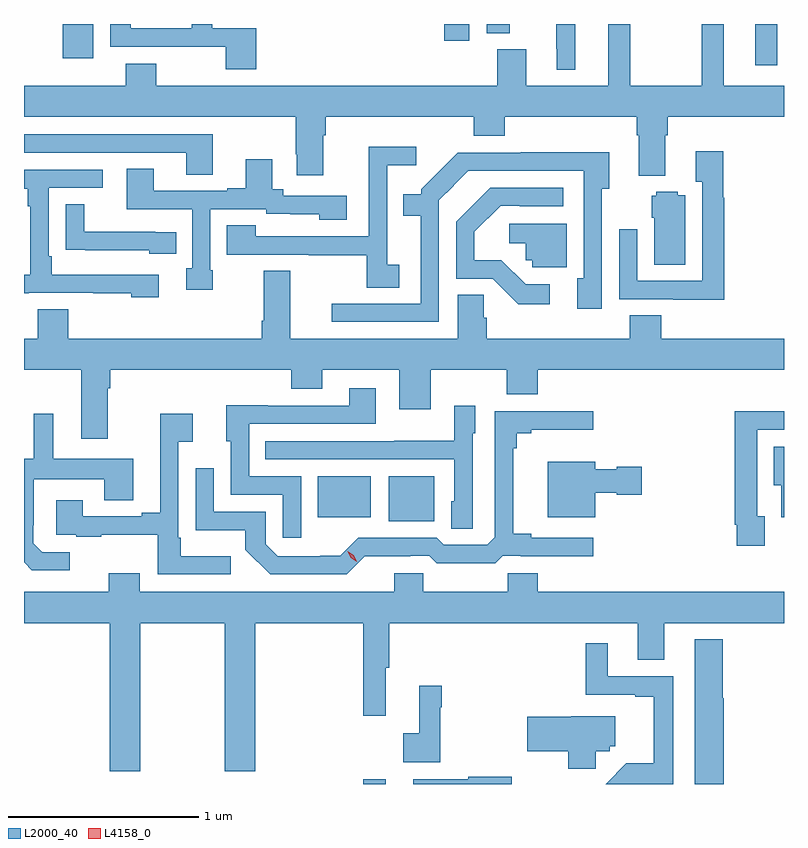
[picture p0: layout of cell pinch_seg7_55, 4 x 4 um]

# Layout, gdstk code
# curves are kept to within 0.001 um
import gdstk
lib = gdstk.Library(unit=1e-6, precision=1e-09)
def R(c, l, rs):  # rectangles x0, y0, x1, y1
    for r in rs: c.add(gdstk.rectangle(r[:2], r[2:], *l))
def P(c, l, *ps):  # polygons
    for p in ps: c.add(gdstk.Polygon(p, *l))
L2000_40 = (2000, 40)
L4158_0 = (4158, 0)

pinch_seg7_55 = lib.new_cell('pinch_seg7_55')
R(pinch_seg7_55, L2000_40, [(893.983,1049.053,894.1,1049.077), (894.116,1050.437,894.355,1050.673), (893.744,1050.458,894.022,1050.673), (896.045,1052.835,896.161,1053.053), (892.4,1052.874,892.561,1053.053), (894.41,1052.964,894.541,1053.053), (894.632,1053.005,894.754,1053.053)])
P(pinch_seg7_55, L2000_40, [(895.099,1053.053),(894.997,1053.053),(894.997,1052.923),(895.001,1052.923),(895.001,1052.813),(895.099,1052.813)],
  [(895.573,1052.468),(895.586,1052.468),(895.586,1052.564),(896.197,1052.564),(896.197,1052.728),(895.879,1052.728),(895.879,1053.053),(895.765,1053.053),(895.765,1052.728),(895.389,1052.728),(895.389,1053.053),(895.271,1053.053),(895.271,1052.728),(894.841,1052.728),(894.841,1052.92),(894.689,1052.92),(894.689,1052.728),(892.893,1052.728),(892.893,1052.845),(892.733,1052.845),(892.733,1052.728),(892.197,1052.728),(892.197,1052.564),(893.626,1052.564),(893.626,1052.368),(893.633,1052.368),(893.633,1052.256),(893.773,1052.256),(893.773,1052.468),(893.786,1052.468),(893.786,1052.564),(894.563,1052.564),(894.563,1052.465),(894.728,1052.465),(894.728,1052.564),(895.421,1052.564),(895.421,1052.468),(895.433,1052.468),(895.433,1052.255),(895.573,1052.255)],
  [(893.42,1053.03),(893.187,1053.03),(893.187,1053.053),(893.079,1053.053),(893.079,1053.031),(892.759,1053.031),(892.759,1053.053),(892.65,1053.053),(892.65,1052.934),(892.994,1052.934),(892.994,1052.933),(893.26,1052.933),(893.26,1052.814),(893.42,1052.814)],
  [(893.191,1052.472),(892.197,1052.472),(892.197,1052.376),(893.051,1052.376),(893.051,1052.26),(893.191,1052.26)],
  [(894.172,1051.785),(894.108,1051.785),(894.108,1052.309),(894.262,1052.309),(894.262,1052.407),(894.012,1052.407),(894.012,1051.935),(893.417,1051.935),(893.417,1051.994),(893.263,1051.994),(893.263,1051.839),(893.695,1051.839),(893.695,1051.837),(894,1051.837),(894,1051.666),(894.172,1051.666)],
  [(895.883,1052.138),(895.876,1052.138),(895.876,1052.383),(895.733,1052.383),(895.733,1052.222),(895.767,1052.222),(895.767,1051.701),(895.425,1051.701),(895.425,1051.972),(895.329,1051.972),(895.329,1051.605),(895.613,1051.605),(895.613,1051.601),(895.883,1051.601)],
  [(894.381,1052.126),(894.534,1052.28),(895.143,1052.28),(895.143,1051.714),(895.109,1051.714),(895.109,1051.554),(895.239,1051.554),(895.239,1052.186),(895.276,1052.186),(895.276,1052.378),(894.811,1052.378),(894.811,1052.376),(894.48,1052.376),(894.288,1052.184),(894.288,1052.158),(894.193,1052.158),(894.193,1052.044),(894.284,1052.044),(894.284,1051.581),(893.817,1051.581),(893.817,1051.485),(894.381,1051.485)],
  [(893.191,1051.758),(893.178,1051.758),(893.178,1052.079),(893.472,1052.079),(893.472,1052.054),(893.599,1052.054),(893.599,1052.052),(893.751,1052.052),(893.751,1052.024),(893.896,1052.024),(893.896,1052.148),(893.562,1052.148),(893.562,1052.183),(893.503,1052.183),(893.503,1052.341),(893.363,1052.341),(893.363,1052.188),(893.267,1052.188),(893.267,1052.175),(892.879,1052.175),(892.879,1052.291),(892.739,1052.291),(892.739,1052.079),(893.082,1052.079),(893.082,1051.768),(893.051,1051.768),(893.051,1051.654),(893.191,1051.654)],
  [(892.906,1051.734),(892.343,1051.734),(892.343,1051.831),(892.326,1051.831),(892.326,1052.19),(892.612,1052.19),(892.612,1052.286),(892.197,1052.286),(892.197,1052.186),(892.218,1052.186),(892.218,1052.093),(892.23,1052.093),(892.23,1051.735),(892.229,1051.735),(892.229,1051.734),(892.197,1051.734),(892.197,1051.636),(892.223,1051.636),(892.223,1051.638),(892.561,1051.638),(892.561,1051.636),(892.761,1051.636),(892.761,1051.616),(892.906,1051.616)],
  [(894.964,1051.683),(894.837,1051.683),(894.71,1051.81),(894.568,1051.81),(894.568,1051.96),(894.705,1052.097),(894.805,1052.097),(894.805,1052.094),(895.036,1052.094),(895.036,1052.19),(894.65,1052.19),(894.471,1052.011),(894.471,1051.713),(894.663,1051.713),(894.799,1051.578),(894.964,1051.578)],
  [(895.678,1052.152),(895.638,1052.152),(895.638,1052.17),(895.524,1052.17),(895.524,1052.148),(895.502,1052.148),(895.502,1052.034),(895.514,1052.034),(895.514,1051.786),(895.678,1051.786)],
  [(892.997,1051.957),(892.889,1051.957),(892.889,1051.959),(892.515,1051.959),(892.515,1052.105),(892.417,1052.105),(892.417,1051.864),(892.519,1051.864),(892.519,1051.863),(892.857,1051.863),(892.857,1051.844),(892.997,1051.844)],
  [(895.054,1052.001),(894.75,1052.001),(894.75,1051.898),(894.837,1051.898),(894.837,1051.809),(894.873,1051.809),(894.873,1051.773),(895.054,1051.773)],
  [(892.639,1051.136),(892.652,1051.136),(892.652,1051.232),(893.603,1051.232),(893.603,1051.133),(893.767,1051.133),(893.767,1051.232),(894.173,1051.232),(894.173,1051.026),(894.337,1051.026),(894.337,1051.232),(894.737,1051.232),(894.737,1051.104),(894.901,1051.104),(894.901,1051.232),(896.197,1051.232),(896.197,1051.396),(895.55,1051.396),(895.55,1051.52),(895.385,1051.52),(895.385,1051.396),(894.632,1051.396),(894.632,1051.506),(894.618,1051.506),(894.618,1051.628),(894.479,1051.628),(894.479,1051.396),(893.599,1051.396),(893.599,1051.754),(893.459,1051.754),(893.459,1051.492),(893.447,1051.492),(893.447,1051.396),(892.43,1051.396),(892.43,1051.553),(892.27,1051.553),(892.27,1051.396),(892.197,1051.396),(892.197,1051.232),(892.499,1051.232),(892.499,1050.87),(892.639,1050.87)],
  [(893.655,1050.672),(893.382,1050.672),(893.382,1050.948),(894.049,1050.948),(894.049,1051.135),(893.909,1051.135),(893.909,1051.044),(893.479,1051.044),(893.479,1051.046),(893.261,1051.046),(893.261,1050.858),(893.286,1050.858),(893.286,1050.576),(893.559,1050.576),(893.559,1050.348),(893.655,1050.348)],
  [(894.558,1050.9),(894.571,1050.9),(894.571,1051.045),(894.462,1051.045),(894.462,1050.859),(894.145,1050.859),(894.145,1050.858),(893.467,1050.858),(893.467,1050.762),(894.462,1050.762),(894.462,1050.54),(894.446,1050.54),(894.446,1050.397),(894.558,1050.397)],
  [(896.095,1050.462),(896.055,1050.462),(896.055,1050.918),(896.197,1050.918),(896.197,1051.016),(895.939,1051.016),(895.939,1050.418),(895.947,1050.418),(895.947,1050.306),(896.095,1050.306)],
  [(893.99,1050.251),(894.23,1050.251),(894.23,1050.255),(894.33,1050.255),(894.37,1050.216),(894.677,1050.216),(894.717,1050.255),(894.811,1050.255),(894.811,1050.251),(895.192,1050.251),(895.192,1050.348),(894.868,1050.348),(894.868,1050.371),(894.773,1050.371),(894.773,1050.821),(894.791,1050.821),(894.791,1050.898),(894.868,1050.898),(894.868,1050.917),(895.192,1050.917),(895.192,1051.014),(894.675,1051.014),(894.675,1050.351),(894.636,1050.312),(894.405,1050.312),(894.369,1050.348),(893.955,1050.348),(893.861,1050.254),(893.756,1050.254),(893.756,1050.252),(893.532,1050.252),(893.469,1050.315),(893.469,1050.486),(893.196,1050.486),(893.196,1050.715),(893.1,1050.715),(893.1,1050.389),(893.362,1050.389),(893.362,1050.287),(893.492,1050.156),(893.895,1050.156)],
  [(893.284,1050.253),(893.023,1050.253),(893.023,1050.349),(893.01,1050.349),(893.01,1050.854),(893.086,1050.854),(893.086,1051.003),(892.913,1051.003),(892.913,1050.481),(892.817,1050.481),(892.817,1050.462),(892.507,1050.462),(892.507,1050.547),(892.367,1050.547),(892.367,1050.366),(892.471,1050.366),(892.471,1050.354),(892.603,1050.354),(892.603,1050.365),(892.902,1050.365),(892.902,1050.156),(893.284,1050.156)],
  [(892.438,1050.273),(892.293,1050.273),(892.246,1050.32),(892.246,1050.415),(892.248,1050.415),(892.248,1050.656),(892.619,1050.656),(892.619,1050.547),(892.771,1050.547),(892.771,1050.766),(892.351,1050.766),(892.351,1051.003),(892.247,1051.003),(892.247,1050.764),(892.197,1050.764),(892.197,1050.219),(892.237,1050.179),(892.438,1050.179)],
  [(896.197,1050.829),(896.144,1050.829),(896.144,1050.626),(896.183,1050.626),(896.183,1050.458),(896.197,1050.458)],
  [(895.204,1050.587),(895.317,1050.587),(895.317,1050.575),(895.447,1050.575),(895.447,1050.722),(895.317,1050.722),(895.317,1050.709),(895.204,1050.709),(895.204,1050.748),(894.953,1050.748),(894.953,1050.458),(895.204,1050.458)],
  [(892.809,1049.9),(893.254,1049.9),(893.254,1049.121),(893.414,1049.121),(893.414,1049.9),(893.983,1049.9),(893.983,1049.412),(894.101,1049.412),(894.101,1049.664),(894.119,1049.664),(894.119,1049.9),(895.427,1049.9),(895.427,1049.706),(895.567,1049.706),(895.567,1049.9),(896.197,1049.9),(896.197,1050.064),(894.902,1050.064),(894.902,1050.162),(894.742,1050.162),(894.742,1050.064),(894.297,1050.064),(894.297,1050.162),(894.146,1050.162),(894.146,1050.064),(892.807,1050.064),(892.807,1050.163),(892.643,1050.163),(892.643,1050.064),(892.197,1050.064),(892.197,1049.9),(892.649,1049.9),(892.649,1049.121),(892.809,1049.121)],
  [(895.88,1049.505),(895.875,1049.505),(895.875,1049.815),(895.727,1049.815),(895.727,1049.053),(895.88,1049.053)],
  [(895.615,1049.619),(895.27,1049.619),(895.27,1049.794),(895.153,1049.794),(895.153,1049.523),(895.415,1049.523),(895.415,1049.511),(895.511,1049.511),(895.511,1049.162),(895.367,1049.162),(895.258,1049.053),(895.615,1049.053)],
  [(894.388,1049.456),(894.395,1049.456),(894.395,1049.569),(894.278,1049.569),(894.278,1049.321),(894.192,1049.321),(894.192,1049.168),(894.388,1049.168)],
  [(895.206,1049.226),(895.281,1049.226),(895.281,1049.253),(895.309,1049.253),(895.309,1049.41),(895.077,1049.41),(895.077,1049.408),(894.846,1049.408),(894.846,1049.225),(895.061,1049.225),(895.061,1049.132),(895.206,1049.132)],
  [(894.763,1049.09),(894.534,1049.09),(894.534,1049.077),(894.245,1049.077),(894.245,1049.053),(894.763,1049.053)])
P(pinch_seg7_55, L4158_0, [(893.948,1050.223),(893.917,1050.243),(893.9,1050.277),(893.9,1050.277),(893.901,1050.277),(893.932,1050.256),(893.948,1050.223),(893.948,1050.223)])

lib.write_gds('pinch_seg7_55.gds')
